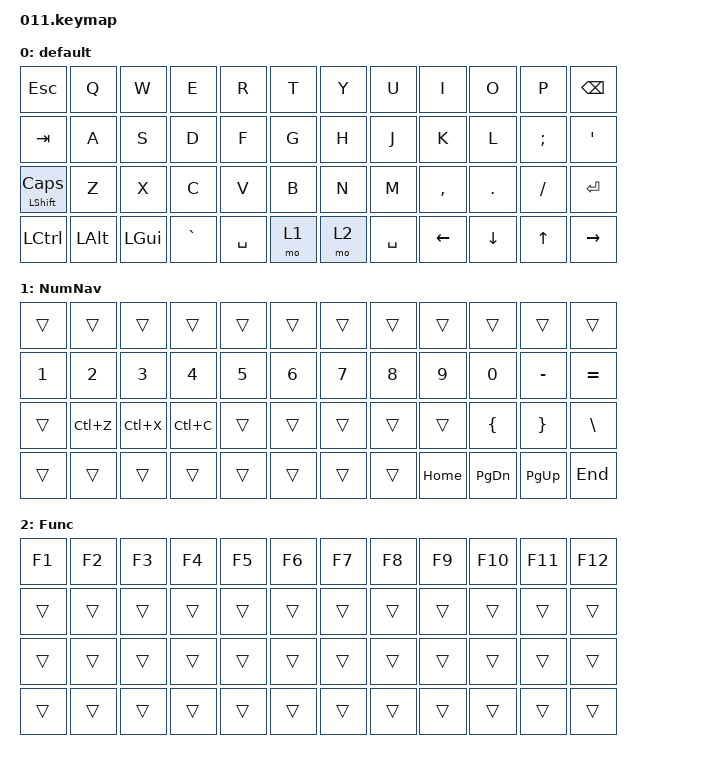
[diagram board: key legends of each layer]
/*
 * Copyright (c) 2022 The ZMK Contributors
 *
 * SPDX-License-Identifier: MIT
 */

#include <behaviors.dtsi>
#include <dt-bindings/zmk/keys.h>

#define DEF_L 0
#define NUM_L 1
#define FUNC_L 2
#define POW_L 3

// Using layer taps on thumbs, having quick tap as well helps w/ repeating space/backspace

&lt {
    quick_tap_ms = <200>;
};

/ {
    behaviors {
        ht: homerow_mods {
            compatible = "zmk,behavior-hold-tap";
            label = "homerow mods";
            #binding-cells = <2>;
            tapping_term_ms = <225>;
            flavor = "tap-preferred";
            bindings = <&kp>, <&kp>;
        };
    };

    // Translating from testamatta 011

    keymap {
        compatible = "zmk,keymap";

        /* Default layer from 011:
            [0] = LAYOUT(
                 ,-------------------------------------------------------------------------------------------------.
                | Esc  |   Q  |   W  |   E  |   R  |   T  |      |      |   Y  |   U  |   I  |   O  |   P  | Bksp |
                |------+------+------+------+------+------+------+------+------+------+------+------+------+------|
                | Tab  |   A  |   S  |   D  |   F  |   G  |      |      |   H  |   J  |   K  |   L  |   ;  |  '   |
                |------+------+------+------+------+------+------+------+------+------+------+------+------+------|
                | Shift|   Z  |   X  |   C  |   V  |   B  |      |      |   N  |   M  |   ,  |   .  |   /  | Enter|
                |------+------+------+------+------+------+------+------+------+------+------+------|-------------|
                |      | Ctrl | Alt  | GUI  | TRNS | Space| Space| Space| Space| Left | Down |  Up  | Right|      |
                `-------------------------------------------------------------------------------------------------'
            ),
        */

        default {
            bindings = <
&kp ESC          &kp Q     &kp W     &kp E      &kp R      &kp T  &kp Y  &kp U      &kp I      &kp O     &kp P      &kp BACKSPACE
&kp TAB          &kp A     &kp S     &kp D      &kp F      &kp G  &kp H  &kp J      &kp K      &kp L     &kp SEMI   &kp SINGLE_QUOTE
&ht LSHIFT CAPS  &kp Z     &kp X     &kp C      &kp V      &kp B  &kp N  &kp M      &kp COMMA  &kp DOT   &kp SLASH                    &kp RET
&kp LCTRL        &kp LALT  &kp LGUI  &kp GRAVE  &kp SPACE  &mo 1  &mo 2  &kp SPACE  &kp LEFT   &kp DOWN  &kp UP     &kp RIGHT
            >;
        };

        /* Layer 1 from 011:
            [1] = LAYOUT(
                //,-----------------------------------------------------------------------------------------------------------.
                    _______, _______, _______, _______, _______, _______, _______, _______, _______, _______, _______, _______,
                //|--------+--------+--------+--------+--------+--------+--------+--------+--------+--------+--------+--------|
                    KC_1   , KC_2   , KC_3   , KC_4   , KC_5   , KC_6   , KC_7   , KC_8   , KC_9   , KC_0   , KC_MINS, KC_EQL,
                //|--------+--------+--------+--------+--------+--------+--------+--------+--------+--------+--------+--------|
                    _______, _______, _______, _______, _______, _______, _______, _______, _______, KC_LBRC, KC_RBRC, KC_BSLS,
                //|--------+--------+--------+--------+--------+--------+--------+--------+--------+--------+--------+--------|
                    _______, _______, _______, _______, _______, _______, _______, _______, KC_HOME, KC_PGDN, KC_PGUP, KC_END 
                //|-----------------------------------------------------------------------------------------------------------'
        */

        quick_layer {
            label = "NumNav";
            bindings = <
&trans  &trans     &trans     &trans     &trans  &trans  &trans  &trans  &trans    &trans     &trans     &trans
&kp N1  &kp N2     &kp N3     &kp N4     &kp N5  &kp N6  &kp N7  &kp N8  &kp N9    &kp N0     &kp MINUS  &kp EQUAL
&trans  &kp LC(Z)  &kp LC(X)  &kp LC(C)  &trans  &trans  &trans  &trans  &trans    &kp LBRC   &kp RBRC              &kp BSLH
&trans  &trans     &trans     &trans     &trans  &trans  &trans  &trans  &kp HOME  &kp PG_DN  &kp PG_UP  &kp END
            >;
        };

        /* Layer 2 from 011:
            [2] = LAYOUT(
                //,-----------------------------------------------------------------------------------------------------------.
                    _______, KC_F1  , KC_F2  , KC_F3  , KC_F4  , KC_F5  , KC_F6  , KC_F7  , KC_F8  , KC_F9  , KC_F10 , _______,
                //|--------+--------+--------+--------+--------+--------+--------+--------+--------+--------+--------+--------|
                    _______, _______, _______, _______, _______, _______, _______, _______, _______, _______, _______, _______,
                //|--------+--------+--------+--------+--------+--------+--------+--------+--------+--------+--------+--------|
                    _______, _______, _______, _______, _______, _______, _______, _______, _______, _______, _______, _______,
                //|--------+--------+--------+--------+--------+--------+--------+--------+--------+--------+--------+--------|
                    _______, _______, _______, _______, _______, _______, _______, _______, _______, _______, _______, _______
                //|-----------------------------------------------------------------------------------------------------------'
            ),
        */

        func_layer {
            label = "Func";
            bindings = <
&kp F1  &kp F2  &kp F3  &kp F4  &kp F5  &kp F6  &kp F7  &kp F8  &kp F9  &kp F10  &kp F11  &kp F12
&trans  &trans  &trans  &trans  &trans  &trans  &trans  &trans  &trans  &trans   &trans   &trans
&trans  &trans  &trans  &trans  &trans  &trans  &trans  &trans  &trans  &trans   &trans            &trans
&trans  &trans  &trans  &trans  &trans  &trans  &trans  &trans  &trans  &trans   &trans   &trans
            >;
        };

        /* Layer 3 from 011:
            [3] = LAYOUT(
                //,-----------------------------------------------------------------------------------------------------------.
                    _______, _______, _______, _______, _______, _______, _______, _______, _______, _______, _______, _______,
                //|--------+--------+--------+--------+--------+--------+--------+--------+--------+--------+--------+--------|
                    _______, _______, KC_SLEP, _______, _______, _______, _______, _______, _______, _______, _______, _______,
                //|--------+--------+--------+--------+--------+--------+--------+--------+--------+--------+--------+--------|
                    _______, _______, _______, _______, _______, _______, _______, _______, _______, _______, _______, _______,
                //|--------+--------+--------+--------+--------+--------+--------+--------+--------+--------+--------+--------|
                    _______, _______, _______, _______, _______, _______, _______, _______, _______, _______, _______, _______
                //|-----------------------------------------------------------------------------------------------------------'
            )
        */
    };
};

